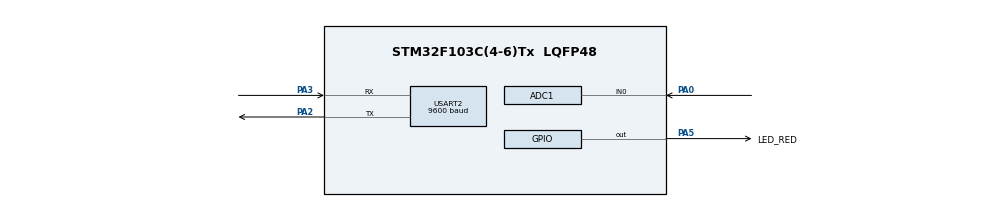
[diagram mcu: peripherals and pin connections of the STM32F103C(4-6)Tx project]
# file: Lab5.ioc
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Mcu.Family=STM32F1
NVIC.ADC1_2_IRQn=true\:0\:0\:false\:false\:true\:true\:true
ADC1.ContinuousConvMode=ENABLE
VP_SYS_VS_ND.Mode=No_Debug
NVIC.USART2_IRQn=true\:0\:0\:false\:false\:true\:true\:true
USART2.BaudRate=9600
ProjectManager.StackSize=0x400
PA0-WKUP.Signal=ADCx_IN0
PA3.Mode=Asynchronous
ProjectManager.TargetToolchain=STM32CubeIDE
ADC1.Channel-1\#ChannelRegularConversion=ADC_CHANNEL_0
PA5.Signal=GPIO_Output
board=custom
RCC.APB2Freq_Value=8000000
VP_TIM2_VS_ClockSourceINT.Mode=Internal
NVIC.TIM2_IRQn=true\:0\:0\:false\:false\:true\:true\:true
SH.ADCx_IN0.0=ADC1_IN0,IN0
TIM2.Period=9
Mcu.Name=STM32F103C(4-6)Tx
PA2.Signal=USART2_TX
ADC1.SamplingTime-1\#ChannelRegularConversion=ADC_SAMPLETIME_1CYCLE_5
Mcu.Package=LQFP48
TIM2.Prescaler=7999
ADC1.master=1
PA5.GPIO_Label=LED_RED
USART2.VirtualMode=VM_ASYNC
ADC1.Rank-1\#ChannelRegularConversion=1
ProjectManager.HeapSize=0x200
NVIC.PriorityGroup=NVIC_PRIORITYGROUP_4
ADC1.NbrOfConversionFlag=1
PA2.Mode=Asynchronous
RCC.APB1Freq_Value=8000000
PA3.Signal=USART2_RX

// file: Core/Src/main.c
/* USER CODE BEGIN Header */
/**
  ******************************************************************************
  * @file           : main.c
  * @brief          : Main program body
  ******************************************************************************
  * @attention
  *
  * <h2><center>&copy; Copyright (c) 2021 STMicroelectronics.
  * All rights reserved.</center></h2>
  *
  * This software component is licensed by ST under BSD 3-Clause license,
  * the "License"; You may not use this file except in compliance with the
  * License. You may obtain a copy of the License at:
  *                        opensource.org/licenses/BSD-3-Clause
  *
  ******************************************************************************
  */
/* USER CODE END Header */
#include "main.h"
#include <stdio.h>
#include <string.h>

ADC_HandleTypeDef hadc1;

TIM_HandleTypeDef htim2;

UART_HandleTypeDef huart2;

/* USER CODE BEGIN PV */
//NOI DINH NGHIA CAC BIEN TOAN CUC
//------------------------------------ CMD-PARSER-FSM
#define HEADER 			0
#define READ_DATA 		1
#define FOOTER			2
#define CHECK_DATA		3

uint8_t state_cmd = HEADER;
uint8_t	numOfData = 0;
uint8_t command_flag = 0;
uint8_t command_data = 0;
uint8_t flag_processing = 0;
char* data;
//------------------------------------- UART-COMMUNICATE-FSM
#define INIT			5
#define RST				6
#define SEND			7
#define WAIT			8

uint8_t state_uart = INIT;
uint8_t flag_timeout = 0;
uint8_t timeout_count = 0;

int data_temp = 636;
char str[15];

int flag_1s = 0;
//------------------------------------ UART-CALL BACK
#define MAX_BUFFER_SIZE 30
uint8_t temp = 0;
uint8_t buffer[MAX_BUFFER_SIZE];
uint8_t index_buffer = 0;
uint8_t buffer_flag = 0;

/* USER CODE END PV */

void SystemClock_Config(void);
static void MX_GPIO_Init(void);
static void MX_ADC1_Init(void);
static void MX_USART2_UART_Init(void);
static void MX_TIM2_Init(void);

/* USER CODE BEGIN 0 */
void HAL_UART_RxCpltCallback( UART_HandleTypeDef * huart ){
	if(huart->Instance == USART2 ){
		HAL_UART_Transmit(&huart2 , &temp , 1, 50);
		buffer[index_buffer++] = temp;
		if(index_buffer == MAX_BUFFER_SIZE) index_buffer = 0;
		if(temp=='\n'||temp=='\r')
		{
			buffer_flag = 1;
			index_buffer = 0;
		}
		HAL_UART_Receive_IT(&huart2 , &temp , 1);
	}
}
/* USER CODE END 0 */

void command_parser_fsm(void);
void uart_communication_fsm(void);
int main(void)
{

  /* MCU Configuration--------------------------------------------------------*/

  /* Reset of all peripherals, Initializes the Flash interface and the Systick. */
  HAL_Init();

  /* Configure the system clock */
  SystemClock_Config();

  /* Initialize all configured peripherals */
  MX_GPIO_Init();
  MX_ADC1_Init();
  MX_USART2_UART_Init();
  MX_TIM2_Init();
  /* USER CODE BEGIN 2 */
  HAL_TIM_Base_Start_IT(&htim2);
  /* USER CODE END 2 */
  HAL_UART_Receive_IT(& huart2 , &temp , 1);
 // HAL_ADC_Start_IT(&hadc1);
  /* Infinite loop */
  /* USER CODE BEGIN WHILE */
  //int ADC_value = 0;
  while (1)
  {
    /* USER CODE END WHILE */
	 command_parser_fsm();
	 uart_communication_fsm();
  }
}

/*
 * HERE ARE FSM DEFINE
 */
void command_parser_fsm(void)
{
	uint8_t index = 0;
		if(buffer_flag == 1 || flag_processing == 1)
		{
			switch(state_cmd)
			{
				case HEADER:
					if(buffer[0] == '!')
					{
						flag_processing = 1;
						state_cmd =  READ_DATA;
					}
					break;
				case READ_DATA:
					state_cmd = FOOTER;
					if(buffer[1] == 'R')
					{
						numOfData = 3;
					}
					else if(buffer[1] == 'O')
					{
						numOfData = 2;
					}
					else
					{
						//status_cmd = ERROR_CMD;
						buffer_flag = 0;
						flag_processing = 0;
						state_cmd = HEADER;
					}
					break;
				case FOOTER:
					if(buffer[numOfData + 1] == '#')
						state_cmd = CHECK_DATA ;
					else
					{
						//status_cmd = ERROR_CMD ;
						buffer_flag = 0;
						flag_processing = 0;
						state_cmd = HEADER;
					}
					break;
				case CHECK_DATA:
					for(index = 0; index < numOfData; index++)
					{
						data[index] = buffer[index+1];
					}
					data[index] ='\0';
					if(strcmp(data,"RST")==0)
					{
						command_flag = 1;
						command_data = 1;
					}
					if(strcmp(data,"OK")==0)
					{
						command_flag = 1 ;
						command_data = 2;
					}
					buffer_flag = 0;
					flag_processing = 0;
					state_cmd = HEADER;
				break;
				/*case ERROR_CMD:
					buffer_flag = 0;
					flag_processing = 0;
					status_cmd = HEADER;
					break;*/
			}
		}
}

void uart_communication_fsm(void)
{
	if(timeout_count > 0 && flag_timeout == 0)
	{
		if(flag_1s == 1)
		{
			flag_1s = 0;
			timeout_count--;
		}
		if(timeout_count==0) flag_timeout=1;
	}
	switch(state_uart)
		{
		case INIT:
			if(command_flag == 1 && command_data == 1)
			{
				state_uart = RST;
				command_flag = 0;
				command_data = 0;
			}
			break;
		case RST:
			data_temp = HAL_ADC_GetValue(&hadc1);
			state_uart = SEND;
			break;
		case SEND:
			sprintf(str , "!ADC=%d#\n\r", data_temp);
			HAL_UART_Transmit(&huart2, str , strlen(str), 50);
			timeout_count = 3; //cho 3s
			flag_timeout = 0;
			state_uart = WAIT;
			break;
		case WAIT:
			if(command_data == 1 && command_flag == 1)
			{
				command_data = 0;
				state_uart = RST;
			}
			if(flag_timeout == 1) state_uart = SEND;
			if(command_data == 2 && command_flag == 1)
			{
				state_uart = INIT;
				command_flag = 0;
			}
			break;
		}

}

void SystemClock_Config(void)
{
  RCC_OscInitTypeDef RCC_OscInitStruct = {0};
  RCC_ClkInitTypeDef RCC_ClkInitStruct = {0};
  RCC_PeriphCLKInitTypeDef PeriphClkInit = {0};

  /** Initializes the RCC Oscillators according to the specified parameters
  * in the RCC_OscInitTypeDef structure.
  */
  RCC_OscInitStruct.OscillatorType = RCC_OSCILLATORTYPE_HSI;
  RCC_OscInitStruct.HSIState = RCC_HSI_ON;
  RCC_OscInitStruct.HSICalibrationValue = RCC_HSICALIBRATION_DEFAULT;
  RCC_OscInitStruct.PLL.PLLState = RCC_PLL_NONE;
  if (HAL_RCC_OscConfig(&RCC_OscInitStruct) != HAL_OK)
  {
    Error_Handler();
  }
  /** Initializes the CPU, AHB and APB buses clocks
  */
  RCC_ClkInitStruct.ClockType = RCC_CLOCKTYPE_HCLK|RCC_CLOCKTYPE_SYSCLK
                              |RCC_CLOCKTYPE_PCLK1|RCC_CLOCKTYPE_PCLK2;
  RCC_ClkInitStruct.SYSCLKSource = RCC_SYSCLKSOURCE_HSI;
  RCC_ClkInitStruct.AHBCLKDivider = RCC_SYSCLK_DIV1;
  RCC_ClkInitStruct.APB1CLKDivider = RCC_HCLK_DIV1;
  RCC_ClkInitStruct.APB2CLKDivider = RCC_HCLK_DIV1;

  if (HAL_RCC_ClockConfig(&RCC_ClkInitStruct, FLASH_LATENCY_0) != HAL_OK)
  {
    Error_Handler();
  }
  PeriphClkInit.PeriphClockSelection = RCC_PERIPHCLK_ADC;
  PeriphClkInit.AdcClockSelection = RCC_ADCPCLK2_DIV2;
  if (HAL_RCCEx_PeriphCLKConfig(&PeriphClkInit) != HAL_OK)
  {
    Error_Handler();
  }
}

static void MX_ADC1_Init(void)
{

  ADC_ChannelConfTypeDef sConfig = {0};

  /** Common config
  */
  hadc1.Instance = ADC1;
  hadc1.Init.ScanConvMode = ADC_SCAN_DISABLE;
  hadc1.Init.ContinuousConvMode = ENABLE;
  hadc1.Init.DiscontinuousConvMode = DISABLE;
  hadc1.Init.ExternalTrigConv = ADC_SOFTWARE_START;
  hadc1.Init.DataAlign = ADC_DATAALIGN_RIGHT;
  hadc1.Init.NbrOfConversion = 1;
  if (HAL_ADC_Init(&hadc1) != HAL_OK)
  {
    Error_Handler();
  }
  /** Configure Regular Channel
  */
  sConfig.Channel = ADC_CHANNEL_0;
  sConfig.Rank = ADC_REGULAR_RANK_1;
  sConfig.SamplingTime = ADC_SAMPLETIME_1CYCLE_5;
  if (HAL_ADC_ConfigChannel(&hadc1, &sConfig) != HAL_OK)
  {
    Error_Handler();
  }

}

static void MX_TIM2_Init(void)
{

  TIM_ClockConfigTypeDef sClockSourceConfig = {0};
  TIM_MasterConfigTypeDef sMasterConfig = {0};

  htim2.Instance = TIM2;
  htim2.Init.Prescaler = 7999;
  htim2.Init.CounterMode = TIM_COUNTERMODE_UP;
  htim2.Init.Period = 9;
  htim2.Init.ClockDivision = TIM_CLOCKDIVISION_DIV1;
  htim2.Init.AutoReloadPreload = TIM_AUTORELOAD_PRELOAD_DISABLE;
  if (HAL_TIM_Base_Init(&htim2) != HAL_OK)
  {
    Error_Handler();
  }
  sClockSourceConfig.ClockSource = TIM_CLOCKSOURCE_INTERNAL;
  if (HAL_TIM_ConfigClockSource(&htim2, &sClockSourceConfig) != HAL_OK)
  {
    Error_Handler();
  }
  sMasterConfig.MasterOutputTrigger = TIM_TRGO_RESET;
  sMasterConfig.MasterSlaveMode = TIM_MASTERSLAVEMODE_DISABLE;
  if (HAL_TIMEx_MasterConfigSynchronization(&htim2, &sMasterConfig) != HAL_OK)
  {
    Error_Handler();
  }

}

static void MX_USART2_UART_Init(void)
{

  huart2.Instance = USART2;
  huart2.Init.BaudRate = 9600;
  huart2.Init.WordLength = UART_WORDLENGTH_8B;
  huart2.Init.StopBits = UART_STOPBITS_1;
  huart2.Init.Parity = UART_PARITY_NONE;
  huart2.Init.Mode = UART_MODE_TX_RX;
  huart2.Init.HwFlowCtl = UART_HWCONTROL_NONE;
  huart2.Init.OverSampling = UART_OVERSAMPLING_16;
  if (HAL_UART_Init(&huart2) != HAL_OK)
  {
    Error_Handler();
  }

}

static void MX_GPIO_Init(void)
{
  GPIO_InitTypeDef GPIO_InitStruct = {0};

  /* GPIO Ports Clock Enable */
  __HAL_RCC_GPIOA_CLK_ENABLE();

  /*Configure GPIO pin Output Level */
  HAL_GPIO_WritePin(LED_RED_GPIO_Port, LED_RED_Pin, GPIO_PIN_RESET);

  /*Configure GPIO pin : LED_RED_Pin */
  GPIO_InitStruct.Pin = LED_RED_Pin;
  GPIO_InitStruct.Mode = GPIO_MODE_OUTPUT_PP;
  GPIO_InitStruct.Pull = GPIO_NOPULL;
  GPIO_InitStruct.Speed = GPIO_SPEED_FREQ_LOW;
  HAL_GPIO_Init(LED_RED_GPIO_Port, &GPIO_InitStruct);

}

/* USER CODE BEGIN 4 */
int count = 100;
void HAL_TIM_PeriodElapsedCallback ( TIM_HandleTypeDef * htim )
{
	count--;
	if(count==0)
	{
		count = 100;
		flag_1s = 1;
	}
}
/* USER CODE END 4 */

void Error_Handler(void)
{
  __disable_irq();
  while (1)
  {
  }
}

/************************ (C) COPYRIGHT STMicroelectronics *****END OF FILE****/
